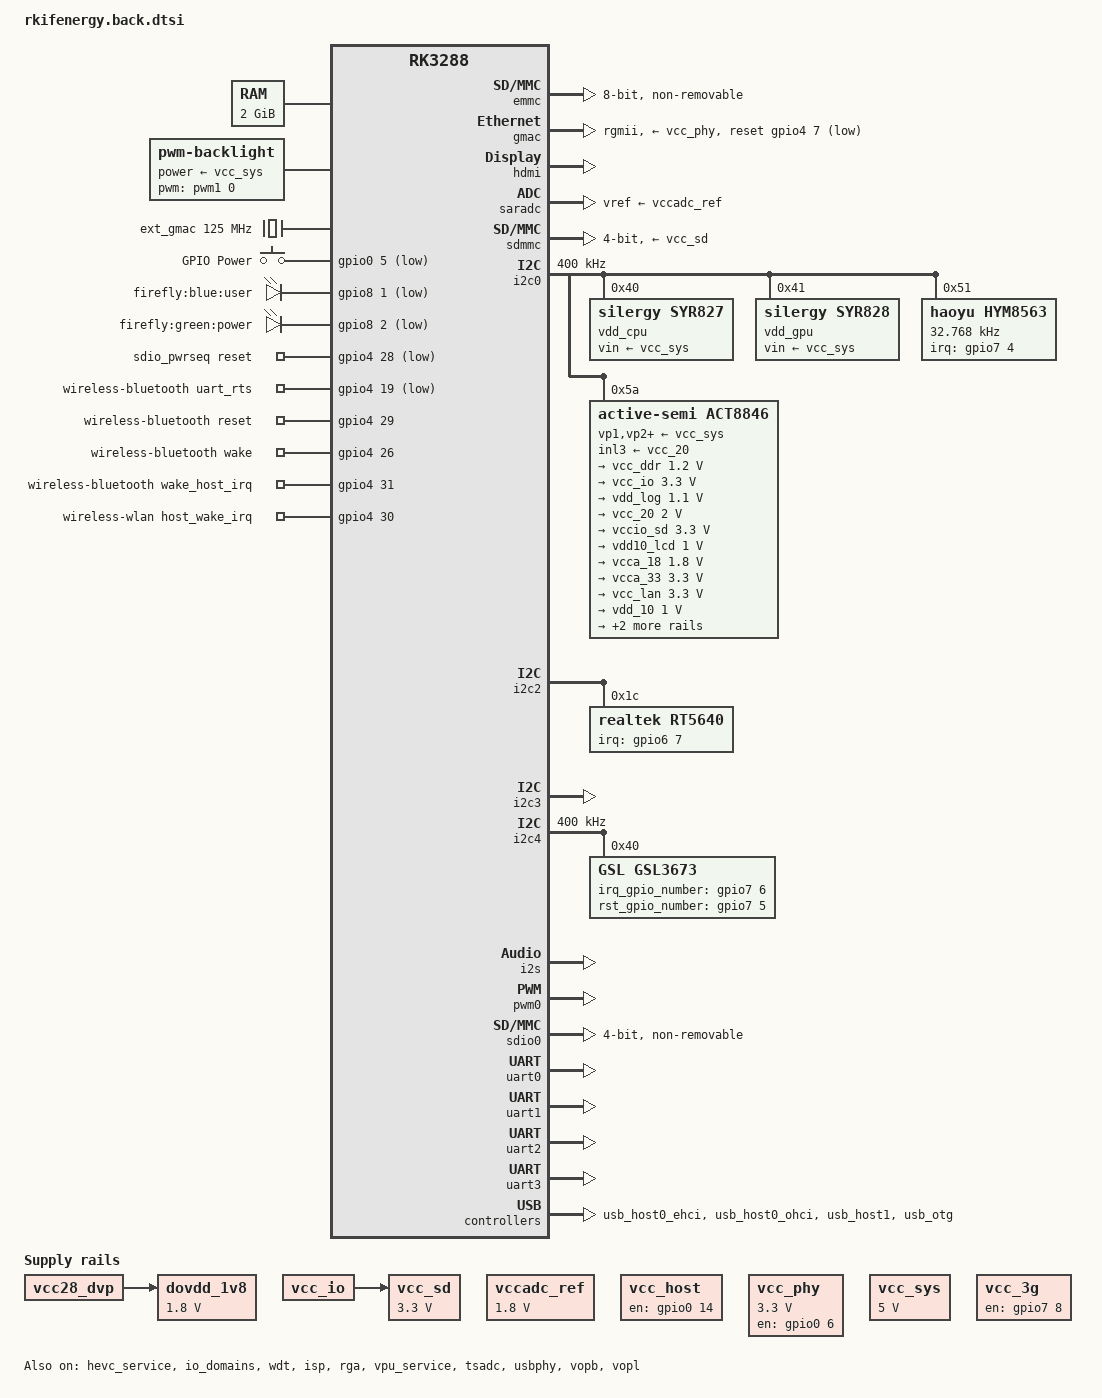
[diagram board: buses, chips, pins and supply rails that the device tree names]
/*
 * Copyright (c) 2015~2017 Fuzhou Rockchip Electronics Co., Ltd
 *
 * This file is dual-licensed: you can use it either under the terms
 * of the GPL or the X11 license, at your option. Note that this dual
 * licensing only applies to this file, and not this project as a
 * whole.
 *
 *  a) This file is free software; you can redistribute it and/or
 *     modify it under the terms of the GNU General Public License as
 *     published by the Free Software Foundation; either version 2 of the
 *     License, or (at your option) any later version.
 *
 *     This file is distributed in the hope that it will be useful,
 *     but WITHOUT ANY WARRANTY; without even the implied warranty of
 *     MERCHANTABILITY or FITNESS FOR A PARTICULAR PURPOSE.  See the
 *     GNU General Public License for more details.
 *
 * Or, alternatively,
 *
 *  b) Permission is hereby granted, free of charge, to any person
 *     obtaining a copy of this software and associated documentation
 *     files (the "Software"), to deal in the Software without
 *     restriction, including without limitation the rights to use,
 *     copy, modify, merge, publish, distribute, sublicense, and/or
 *     sell copies of the Software, and to permit persons to whom the
 *     Software is furnished to do so, subject to the following
 *     conditions:
 *
 *     The above copyright notice and this permission notice shall be
 *     included in all copies or substantial portions of the Software.
 *
 *     THE SOFTWARE IS PROVIDED "AS IS", WITHOUT WARRANTY OF ANY KIND,
 *     EXPRESS OR IMPLIED, INCLUDING BUT NOT LIMITED TO THE WARRANTIES
 *     OF MERCHANTABILITY, FITNESS FOR A PARTICULAR PURPOSE AND
 *     NONINFRINGEMENT. IN NO EVENT SHALL THE AUTHORS OR COPYRIGHT
 *     HOLDERS BE LIABLE FOR ANY CLAIM, DAMAGES OR OTHER LIABILITY,
 *     WHETHER IN AN ACTION OF CONTRACT, TORT OR OTHERWISE, ARISING
 *     FROM, OUT OF OR IN CONNECTION WITH THE SOFTWARE OR THE USE OR
 *     OTHER DEALINGS IN THE SOFTWARE.
 */

#include <dt-bindings/pwm/pwm.h>
#include <dt-bindings/input/input.h>
#include "rk3288.dtsi"

/ {

	memory {
		device_type = "memory";
		reg = <0x0 0x0 0x0 0x80000000>;
	};
	
	backlight: backlight {
		compatible = "pwm-backlight";
		brightness-levels = <
			  3   4   5   6   7
			  8   9  10  11  12  13  14  15
			 16  17  18  19  20  21  22  23
			 24  25  26  27  28  29  30  31
			 32  33  34  35  36  37  38  39
			 40  41  42  43  44  45  46  47
			 48  49  50  51  52  53  54  55
			 56  57  58  59  60  61  62  63
			 64  65  66  67  68  69  70  71
			 72  73  74  75  76  77  78  79
			 80  81  82  83  84  85  86  87
			 88  89  90  91  92  93  94  95
			 96  97  98  99 100 101 102 103
			104 105 106 107 108 109 110 111
			112 113 114 115 116 117 118 119
			120 121 122 123 124 125 126 127
			128 129 130 131 132 133 134 135
			136 137 138 139 140 141 142 143
			144 145 146 147 148 149 150 151
			152 153 154 155 156 157 158 159
			160 161 162 163 164 165 166 167
			168 169 170 171 172 173 174 175
			176 177 178 179 180 181 182 183
			184 185 186 187 188 189 190 191
			192 193 194 195 196 197 198 199
			200 201 202 203 204 205 206 207
			208 209 210 211 212 213 214 215
			216 217 218 219 220 221 222 223
			224 225 226 227 228 229 230 231
			232 233 234 235 236 237 238 239
			240 241 242 243 244 245 246 247
			248 249 250 251 252 253 254 255>;
		default-brightness-level = <180>;
		pwms = <&pwm1 0 25000 0>;
		pwm-names = "backlight";
		power-supply = <&vcc_sys>;
	};

	edp_panel: edp-panel {
		status = "disabled";

		ports {
			panel_in_edp: endpoint {
				remote-endpoint = <&edp_out_panel>;
			};
		};
	};

	lvds_panel: lvds-panel {
		status = "disabled";
		pinctrl-0 = <&lcd_cs>;
		ports {
			panel_in_lvds: endpoint {
				remote-endpoint = <&lvds_out_panel>;
			};
		};
	};

//TODO
	dovdd_1v8: dovdd-1v8-regulator {
		compatible = "regulator-fixed";
		regulator-name = "dovdd_1v8";
		regulator-min-microvolt = <1800000>;
		regulator-max-microvolt = <1800000>;
		vin-supply = <&vcc28_dvp>;
	};

	ext_gmac: external-gmac-clock {
		compatible = "fixed-clock";
		#clock-cells = <0>;
		clock-frequency = <125000000>;
		clock-output-names = "ext_gmac";
	};

	ir: ir-receiver {
		compatible = "gpio-ir-receiver";
		pinctrl-names = "default";
		pinctrl-0 = <&ir_int>;
	};

	keys: gpio-keys {
		compatible = "gpio-keys";
		#address-cells = <1>;
		#size-cells = <0>;

		button@0 {
			gpio-key,wakeup = <1>;
			gpios = <&gpio0 5 GPIO_ACTIVE_LOW>;
			label = "GPIO Power";
			linux,code = <116>;
			pinctrl-names = "default";
			pinctrl-0 = <&pwr_key>;
		};
	};

	leds {
		compatible = "gpio-leds";

		work {
			gpios = <&gpio8 1 GPIO_ACTIVE_LOW>;
			label = "firefly:blue:user";
			linux,default-trigger = "rc-feedback";
			pinctrl-names = "default";
			pinctrl-0 = <&work_led>;
		};

		power {
			gpios = <&gpio8 2 GPIO_ACTIVE_LOW>;
			label = "firefly:green:power";
			linux,default-trigger = "default-on";
			pinctrl-names = "default";
			pinctrl-0 = <&power_led>;
		};
	};

	sdio_pwrseq: sdio-pwrseq {
		compatible = "mmc-pwrseq-simple";
		clocks = <&hym8563>;
		clock-names = "ext_clock";
		pinctrl-names = "default";
		pinctrl-0 = <&wifi_enable_h>;

		/*
		 * On the module itself this is one of these (depending
		 * on the actual card populated):
		 * - SDIO_RESET_L_WL_REG_ON
		 * - PDN (power down when low)
		 */
		reset-gpios = <&gpio4 28 GPIO_ACTIVE_LOW>;
	};


	//TODO
/*
	sound {
		compatible = "simple-audio-card";
		simple-audio-card,name = "SPDIF";
		simple-audio-card,dai-link@1 {
			cpu { sound-dai = <&spdif>; };
			codec { sound-dai = <&spdif_out>; };
		};
	};
	spdif_out: spdif-out {
		compatible = "linux,spdif-dit";
		#sound-dai-cells = <0>;
	};
*/

	sound: sound {
		status = "disabled";
		compatible = "simple-audio-card";
		simple-audio-card,format = "i2s";
		simple-audio-card,name = "rockchip,rt5640-codec";
		simple-audio-card,mclk-fs = <512>;
		simple-audio-card,widgets =
			"Microphone", "Microphone Jack",
			"Headphone", "Headphone Jack";
		simple-audio-card,routing =
			"MIC1", "Microphone Jack",
			"MIC2", "Microphone Jack",
			"Microphone Jack", "micbias1",
			"Headphone Jack", "HPOL",
			"Headphone Jack", "HPOR";

		simple-audio-card,dai-link@0 {
			format = "i2s";
			cpu {
				sound-dai = <&i2s>;
			};

			codec {
				sound-dai = <&rt5640>;
			};
		};

		simple-audio-card,dai-link@1 {
			format = "i2s";
			cpu {
				sound-dai = <&i2s>;
			};

			codec {
				sound-dai = <&hdmi>;
			};
		};
	};
	ext_gmac: external-gmac-clock {
		compatible = "fixed-clock";
		clock-frequency = <125000000>;
		clock-output-names = "ext_gmac";
		#clock-cells = <0>;
	};

	vccadc_ref: vccadc-ref {
		compatible = "regulator-fixed";
		regulator-name = "vcc1v8_sys";
		regulator-always-on;
		regulator-boot-on;
		regulator-min-microvolt = <1800000>;
		regulator-max-microvolt = <1800000>;
	};

	/* This turns on USB vbus for both host0 (ehci) and host1 (dwc2) */
	vcc_host: vcc-host-regulator {
		compatible = "regulator-fixed";
		enable-active-high;
		gpio = <&gpio0 14 GPIO_ACTIVE_HIGH>;
		pinctrl-names = "default";
		pinctrl-0 = <&host_vbus_drv>;
		regulator-name = "vcc_host";
		regulator-always-on;
		regulator-boot-on;
	};

	vcc_phy: vcc-phy-regulator {
		compatible = "regulator-fixed";
		enable-active-high;
		gpio = <&gpio0 6 GPIO_ACTIVE_HIGH>;
		pinctrl-names = "default";
		pinctrl-0 = <&eth_phy_pwr>;
		regulator-name = "vcc_phy";
		regulator-min-microvolt = <3300000>;
		regulator-max-microvolt = <3300000>;
		regulator-always-on;
		regulator-boot-on;
	};

	vcc_sys: vsys-regulator {
		compatible = "regulator-fixed";
		regulator-name = "vcc_sys";
		regulator-min-microvolt = <5000000>;
		regulator-max-microvolt = <5000000>;
		regulator-always-on;
		regulator-boot-on;
	};

	/* This switch DIO3222 HOST_DP_HOST to host2 (dwc2) */
	vcc_3g: vcc-3g-regulator {
		compatible = "regulator-fixed";
		enable-active-high;
		gpio = <&gpio7 8 GPIO_ACTIVE_HIGH>;
		pinctrl-names = "default";
		pinctrl-0 = <&pwr_3g>;
		regulator-name = "vcc_3g";
	};

	/*
	 * NOTE: vcc_sd isn't hooked up on v1.0 boards where power comes from
	 * vcc_io directly.  Those boards won't be able to power cycle SD cards
	 * but it shouldn't hurt to toggle this pin there anyway.
	 */
	vcc_sd: sdmmc-regulator {
		compatible = "regulator-fixed";
		pinctrl-names = "default";
		pinctrl-0 = <&sdmmc_pwr>;
		regulator-name = "vcc_sd";
		regulator-min-microvolt = <3300000>;
		regulator-max-microvolt = <3300000>;
		startup-delay-us = <100000>;
		vin-supply = <&vcc_io>;
	};

	wireless-bluetooth {
		compatible = "bluetooth-platdata";
		uart_rts_gpios = <&gpio4 19 GPIO_ACTIVE_LOW>;
		pinctrl-names = "default", "rts_gpio";
		pinctrl-0 = <&uart0_rts>;
		pinctrl-1 = <&uart0_gpios>;
		BT,reset_gpio    = <&gpio4 29 GPIO_ACTIVE_HIGH>;
		BT,wake_gpio     = <&gpio4 26 GPIO_ACTIVE_HIGH>;
		BT,wake_host_irq = <&gpio4 31 GPIO_ACTIVE_HIGH>;
		status = "okay";
	};

	wireless-wlan {
		compatible = "wlan-platdata";
		rockchip,grf = <&grf>;
		wifi_chip_type = "ap6335";
		sdio_vref = <1800>;
		WIFI,host_wake_irq = <&gpio4 30 GPIO_ACTIVE_HIGH>;
		status = "okay";
	};
};

&emmc {
	bus-width = <8>;
	cap-mmc-highspeed;
	disable-wp;
	non-removable;
	num-slots = <1>;
	pinctrl-names = "default";
	pinctrl-0 = <&emmc_clk &emmc_cmd &emmc_pwr &emmc_bus8>;
	max-frequency = <100000000>;
	mmc-hs200-1_8v;
	mmc-ddr-1_8v;
	status = "okay";
};

&gmac {
	phy-supply = <&vcc_phy>;
	phy-mode = "rgmii";
	clock_in_out = "input";
	snps,reset-gpio = <&gpio4 7 0>;
	snps,reset-active-low;
	snps,reset-delays-us = <0 10000 50000>;
	assigned-clocks = <&cru SCLK_MAC>;
	assigned-clock-parents = <&ext_gmac>;
	pinctrl-names = "default";
	pinctrl-0 = <&rgmii_pins>;
	tx_delay = <0x30>;
	rx_delay = <0x10>;
	max-speed = <100>;
	status = "okay";
};

&hdmi {
	#address-cells = <1>;
	#size-cells = <0>;
	#sound-dai-cells = <0>;
	status = "okay";
};

&saradc {
	vref-supply = <&vccadc_ref>;
	status = "okay";
};

&sdmmc {
	supports-sd;
	bus-width = <4>;
	cap-mmc-highspeed;
	sd-uhs-sdr12;
	sd-uhs-sdr25;
	sd-uhs-sdr50;
	sd-uhs-sdr104;
	cap-sd-highspeed;
	card-detect-delay = <200>;
	disable-wp;			/* wp not hooked up */
	num-slots = <1>;
	pinctrl-names = "default";
	pinctrl-0 = <&sdmmc_clk &sdmmc_cmd &sdmmc_cd &sdmmc_bus4>;
	status = "okay";
	vmmc-supply = <&vcc_sd>;
	vqmmc-supply = <&vccio_sd>;
	supports-sd;
};

&edp {
	force-hpd;
	status = "disabled";

	ports {
		edp_out: port@1 {
			reg = <1>;
			#address-cells = <1>;
			#size-cells = <0>;
			edp_out_panel: endpoint {
				reg = <0>;
				remote-endpoint = <&panel_in_edp>;
			};
		};
	};
};

&hevc_service {
	status = "okay";
};


&i2c0 {
	clock-frequency = <400000>;
	status = "okay";

	vdd_cpu: syr827@40 {
		compatible = "silergy,syr827";
		fcs,suspend-voltage-selector = <1>;
		reg = <0x40>;
		regulator-name = "vdd_cpu";
		regulator-min-microvolt = <850000>;
		regulator-max-microvolt = <1350000>;
		regulator-always-on;
		regulator-boot-on;
		regulator-enable-ramp-delay = <300>;
		regulator-ramp-delay = <8000>;
		vin-supply = <&vcc_sys>;
	};

	vdd_gpu: syr828@41 {
		compatible = "silergy,syr828";
		fcs,suspend-voltage-selector = <1>;
		reg = <0x41>;
		regulator-name = "vdd_gpu";
		regulator-min-microvolt = <850000>;
		regulator-max-microvolt = <1350000>;
		regulator-always-on;
		regulator-ramp-delay = <6000>;
		vin-supply = <&vcc_sys>;
	};

	hym8563: hym8563@51 {
		compatible = "haoyu,hym8563";
		reg = <0x51>;
		#clock-cells = <0>;
		clock-frequency = <32768>;
		clock-output-names = "xin32k";
		interrupt-parent = <&gpio7>;
		interrupts = <4 IRQ_TYPE_EDGE_FALLING>;
		pinctrl-names = "default";
		pinctrl-0 = <&rtc_int>;
	};

	act8846: act8846@5a {
		compatible = "active-semi,act8846";
		reg = <0x5a>;
		pinctrl-names = "default";
		pinctrl-0 = <&pmic_vsel>, <&pwr_hold>;
		system-power-controller;

		vp1-supply = <&vcc_sys>;
		vp2-supply = <&vcc_sys>;
		vp3-supply = <&vcc_sys>;
		vp4-supply = <&vcc_sys>;
		inl1-supply = <&vcc_sys>;
		inl2-supply = <&vcc_sys>;
		inl3-supply = <&vcc_20>;

		regulators {
			vcc_ddr: REG1 {
				regulator-name = "vcc_ddr";
				regulator-min-microvolt = <1200000>;
				regulator-max-microvolt = <1200000>;
				regulator-always-on;
			};

			vcc_io: REG2 {
				regulator-name = "vcc_io";
				regulator-min-microvolt = <3300000>;
				regulator-max-microvolt = <3300000>;
				regulator-always-on;
			};

			vdd_log: REG3 {
				regulator-name = "vdd_log";
				regulator-min-microvolt = <1100000>;
				regulator-max-microvolt = <1100000>;
				regulator-always-on;
			};

			vcc_20: REG4 {
				regulator-name = "vcc_20";
				regulator-min-microvolt = <2000000>;
				regulator-max-microvolt = <2000000>;
				regulator-always-on;
			};

			vccio_sd: REG5 {
				regulator-name = "vccio_sd";
				regulator-min-microvolt = <3300000>;
				regulator-max-microvolt = <3300000>;
				regulator-always-on;
			};

			vdd10_lcd: REG6 {
				regulator-name = "vdd10_lcd";
				regulator-min-microvolt = <1000000>;
				regulator-max-microvolt = <1000000>;
				regulator-always-on;
			};

			vcca_18: REG7 {
				regulator-name = "vcca_18";
				regulator-min-microvolt = <1800000>;
				regulator-max-microvolt = <1800000>;
			};

			vcca_33: REG8 {
				regulator-name = "vcca_33";
				regulator-min-microvolt = <3300000>;
				regulator-max-microvolt = <3300000>;
				regulator-always-on;
			};

			vcc_lan: REG9 {
				regulator-name = "vcc_lan";
				regulator-min-microvolt = <3300000>;
				regulator-max-microvolt = <3300000>;
			};

			vdd_10: REG10 {
				regulator-name = "vdd_10";
				regulator-min-microvolt = <1000000>;
				regulator-max-microvolt = <1000000>;
				regulator-always-on;
			};

			vccio_wl: vcc_18: REG11 {
				regulator-name = "vcc_18";
				regulator-min-microvolt = <1800000>;
				regulator-max-microvolt = <1800000>;
				regulator-always-on;
			};

			vcc18_lcd: REG12 {
				regulator-name = "vcc18_lcd";
				regulator-min-microvolt = <1800000>;
				regulator-max-microvolt = <1800000>;
				regulator-always-on;
			};
		};
	};
};



&i2c2 {
	status = "okay";

	rt5640: rt5640@1c {
		#sound-dai-cells = <0>;
		compatible = "realtek,rt5640";
		reg = <0x1c>;
		clocks = <&cru SCLK_I2S0_OUT>;
		clock-names = "mclk";
		interrupt-parent = <&gpio6>;
		interrupts = <7 IRQ_TYPE_EDGE_FALLING>;
		pinctrl-names = "default";
		pinctrl-0 = <&i2s0_mclk>;
	};
};

&i2c3 {
	status = "okay";
};

&i2c4 {
	status = "okay";
	clock-frequency = <400000>;

	gsl3673@40 {
		compatible = "GSL,GSL3673";
		reg = <0x40>;
		screen_max_x = <1536>;
		screen_max_y = <2048>;
		irq_gpio_number = <&gpio7 6 IRQ_TYPE_LEVEL_LOW>;
		rst_gpio_number = <&gpio7 5 GPIO_ACTIVE_HIGH>;
		status = "okay";
	};
};

&i2s {
	#sound-dai-cells = <0>;
	status = "okay";
};

/*
&io_domains {
	status = "okay";

	sdcard-supply = <&vccio_sd>;
	wifi-supply = <&vcc_18>;
};
*/

&io_domains {
	status = "okay";

	audio-supply = <&vcca_33>;
	bb-supply = <&vcc_io>;
	dvp-supply = <&dovdd_1v8>;
	flash0-supply = <&vcc_flash>;
	flash1-supply = <&vcc_lan>;
	gpio30-supply = <&vcc_io>;
	gpio1830-supply = <&vcc_io>;
	lcdc-supply = <&vcc_io>;
	sdcard-supply = <&vccio_sd>;
	wifi-supply = <&vccio_wl>;
};




&wdt {
	status = "okay";
};

&pwm0 {
	status = "okay";
};

&isp {
	status = "okay";
};

&isp_mmu {
	status = "okay";
};

&rga {
	status = "okay";
};

&sdio0 {
	status = "okay";
	max-frequency = <150000000>;

	bus-width = <4>;
	cap-sd-highspeed;
	cap-sdio-irq;
	disable-wp;
	keep-power-in-suspend;
	mmc-pwrseq = <&sdio_pwrseq>;
	non-removable;
	num-slots = <1>;
	pinctrl-names = "default";
	pinctrl-0 = <&sdio0_bus4 &sdio0_cmd &sdio0_clk &sdio0_int>;
	sd-uhs-sdr104;
	supports-sdio;
};

&uart0 {
	pinctrl-names = "default";
	pinctrl-0 = <&uart0_xfer &uart0_cts>;
	status = "okay";
};

&uart1 {
	status = "okay";
};


&uart2 {
	status = "okay";
};


&uart3 {
	status = "okay";
};

&vpu_service {
	status = "okay";
};

&tsadc {
	rockchip,hw-tshut-polarity = <0>; /* tshut polarity 0:LOW 1:HIGH */
	status = "okay";
};

&usbphy {
	status = "okay";
};

&usb_host0_ehci {
	rockchip-relinquish-port;
	status = "okay";
};

&usb_host0_ohci {
	status = "okay";
};

&usb_host1 {
	status = "okay";
};

&usb_otg {
	status = "okay";
};

&lvds {
	status = "disabled";
	ports {
		lvds_out: port@1 {
			reg = <1>;
			#address-cells = <1>;
			#size-cells = <0>;

			lvds_out_panel: endpoint@0 {
				reg = <0>;
				remote-endpoint = <&panel_in_lvds>;
			};
		};
	};
};

&vopb {
	status = "okay";
};

&vopb_mmu {
	status = "okay";
};

&vopl {
	status = "okay";
};

&vopl_mmu {
	status = "okay";
};

&pinctrl {
	pcfg_pull_none_drv_8ma: pcfg-pull-none-drv-8ma {
		drive-strength = <8>;
	};

	pcfg_pull_up_drv_8ma: pcfg-pull-up-drv-8ma {
		bias-pull-up;
		drive-strength = <8>;
	};

	pmic {
		pmic_int: pmic-int {
			rockchip,pins = <RK_GPIO0 4 RK_FUNC_GPIO &pcfg_pull_up>;
		};
	};

	sdio-pwrseq {
		wifi_enable_h: wifi-enable-h {
			rockchip,pins = <4 28 RK_FUNC_GPIO &pcfg_pull_none>;
		};
	};

	sdmmc {
		/*
		 * Default drive strength isn't enough to achieve even
		 * high-speed mode on EVB board so bump up to 8ma.
		 */
		sdmmc_bus4: sdmmc-bus4 {
			rockchip,pins = <6 16 RK_FUNC_1 &pcfg_pull_up_drv_8ma>,
					<6 17 RK_FUNC_1 &pcfg_pull_up_drv_8ma>,
					<6 18 RK_FUNC_1 &pcfg_pull_up_drv_8ma>,
					<6 19 RK_FUNC_1 &pcfg_pull_up_drv_8ma>;
		};

		sdmmc_clk: sdmmc-clk {
			rockchip,pins = <6 20 RK_FUNC_1 &pcfg_pull_none_drv_8ma>;
		};

		sdmmc_cmd: sdmmc-cmd {
			rockchip,pins = <6 21 RK_FUNC_1 &pcfg_pull_up_drv_8ma>;
		};

		sdmmc_pwr: sdmmc-pwr {
			rockchip,pins = <7 11 RK_FUNC_GPIO &pcfg_pull_none>;
		};
	};

	usb {
		host_vbus_drv: host-vbus-drv {
			rockchip,pins = <0 14 RK_FUNC_GPIO &pcfg_pull_none>;
		};

		pwr_3g: pwr-3g {
			rockchip,pins = <7 8 RK_FUNC_GPIO &pcfg_pull_none>;
		};
	};

	eth_phy {
		eth_phy_pwr: eth-phy-pwr {
			rockchip,pins = <0 6 RK_FUNC_GPIO &pcfg_pull_none>;
		};
	};

	lcd {
		lcd_cs: lcd-cs {
			rockchip,pins = <7 4 RK_FUNC_GPIO &pcfg_pull_none>;
		};
	};

	wireless-bluetooth {
		uart0_gpios: uart0-gpios {
			rockchip,pins = <4 19 RK_FUNC_GPIO &pcfg_pull_none>;
		};
	};
};
